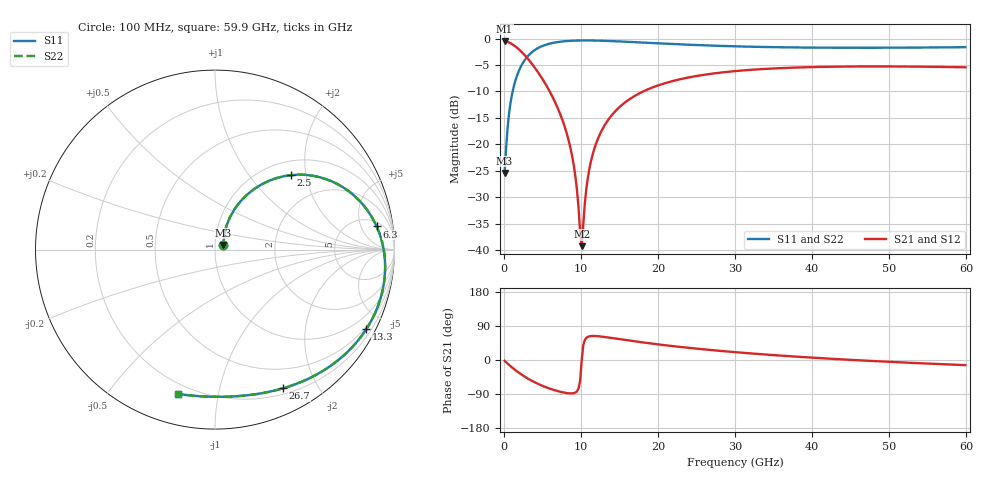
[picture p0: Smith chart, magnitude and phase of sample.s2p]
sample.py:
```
from inductor import *

# Load in the s2p data.
inductor = Inductor(data="sample.s2p")

# Print the modeled parameters.
print(inductor.model_parameters)

# Write out the data in spice format.
inductor.write_spice(filename='./my_inductor.cir')

# Show the model vs data.
inductor.show_plot()
```
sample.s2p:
!Created with skrf (http://scikit-rf.org).
# Hz S RI R 50.0
!freq ReS11 ImS11 ReS21 ImS21 ReS12 ImS12 ReS22 ImS22
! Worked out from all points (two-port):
!   300 points, 100 MHz to 59.9 GHz, reference 50 ohm
!   highest |S21| = -0.43 dB at 100 MHz (marker M1); lowest = -39.3 dB at 10.1 GHz (marker M2)
!   |S21| within 3 dB of the highest: start of sweep to 2.898 GHz
!   lowest |S11| = -25.4 dB at 100 MHz (marker M3), VSWR 1.11, Z = 54.9 + j2.77 ohm
!   |S11| at or under -10 dB: start of sweep to 1.143 GHz
!   |S22| runs from -25.4 to -0.3 dB; largest |S21 - S12| = 1.5e-15
!   S11 on the Smith chart (normalised r, x): 100 MHz: 1.10, +0.06; 2.5 GHz: 1.29, +1.65; 6.3 GHz: 6, +10; 13.3 GHz: 0.42, -4.02; 26.7 GHz: 0.26, -1.57; 59.9 GHz: 0.15, -0.77
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1e8  0.0473 0.0252  0.9507 -0.0347  0.9507 -0.0347  0.0473 0.0252
9e8  0.1116 0.2294  0.8636 -0.2606  0.8636 -0.2606  0.1116 0.2294
2.5e9  0.4248 0.4151  0.5453 -0.4774  0.5453 -0.4774  0.4248 0.4151
6.3e9  0.9005 0.1293  0.0599 -0.2767  0.0599 -0.2767  0.9005 0.1293
8.9e9  0.9471 -0.131  0.0026 -0.0749  0.0026 -0.0749  0.9471 -0.131
1.01e10  0.9327 -0.232  0.0109 -0.000578  0.0109 -0.000578  0.9327 -0.232
1.11e10  0.9109 -0.3065  0.0271 0.0518  0.0271 0.0518  0.9109 -0.3065
1.33e10  0.8438 -0.4418  0.08 0.1392  0.08 0.1392  0.8438 -0.4418
2.67e10  0.3795 -0.7727  0.4138 0.2075  0.4138 0.2075  0.3795 -0.7727
3.01e10  0.2882 -0.7951  0.4623 0.1732  0.4623 0.1732  0.2882 -0.7951
5.99e10  -0.2062 -0.8041  0.5209 -0.1251  0.5209 -0.1251  -0.2062 -0.8041
